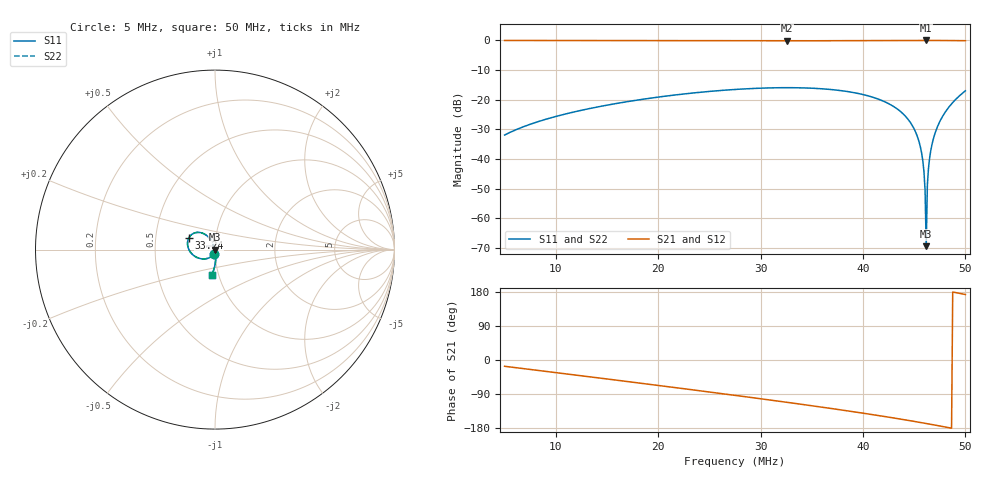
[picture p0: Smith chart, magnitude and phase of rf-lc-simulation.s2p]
# MHz S RI R 50
! Generated by RF LC Structure Simulator
! freq_MHz S11_real S11_imag S21_real S21_imag S12_real S12_imag S22_real S22_imag
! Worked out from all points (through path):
!   401 points, 5 MHz to 50 MHz, reference 50 ohm
!   highest |S21| = 0.00 dB at 46.17 MHz (marker M1); lowest = -0.1 dB at 32.56 MHz (marker M2)
!   group delay of S21, straight-line fit = 10.2 ns
!   lowest |S11| = -69.4 dB at 46.17 MHz (marker M3), VSWR 1.00, Z = 50 - j0.0331 ohm
!   |S11| at or under -10 dB: start of sweep to end of sweep
!   |S22| runs from -69.4 to -15.9 dB; largest |S21 - S12| = 3.7e-16
!   S11 on the Smith chart (normalised r, x): 5 MHz: 0.98, -0.05; 33.24 MHz: 0.74, +0.10; 50 MHz: 0.93, -0.27
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5  -0.00724 -0.0243  0.9581 -0.2852  0.9581 -0.2852  -0.00724 -0.0243
12.5375  -0.0443 -0.0497  0.7445 -0.6643  0.7445 -0.6643  -0.0443 -0.0497
20.075  -0.1027 -0.0428  0.3827 -0.9172  0.3827 -0.9172  -0.1027 -0.0428
27.5  -0.1488 0.00853  -0.0565 -0.9872  -0.0565 -0.9872  -0.1488 0.00853
32.5625  -0.1486 0.0588  -0.3631 -0.9179  -0.3631 -0.9179  -0.1486 0.0588
33.2375  -0.1457 0.0651  -0.4028 -0.9013  -0.4028 -0.9013  -0.1457 0.0651
35.0375  -0.1343 0.0802  -0.5061 -0.8482  -0.5061 -0.8482  -0.1343 0.0802
39.5375  -0.0846 0.0954  -0.7418 -0.6584  -0.7418 -0.6584  -0.0846 0.0954
42.575  -0.0408 0.0741  -0.8726 -0.481  -0.8726 -0.481  -0.0408 0.0741
44.15  -0.0196 0.0488  -0.9267 -0.3722  -0.9267 -0.3722  -0.0196 0.0488
45.1625  -0.00826 0.0266  -0.9547 -0.2961  -0.9547 -0.2961  -0.00826 0.0266
45.5  -0.00509 0.0182  -0.9628 -0.2697  -0.9628 -0.2697  -0.00509 0.0182
45.725  -0.00318 0.0122  -0.9677 -0.2518  -0.9677 -0.2518  -0.00318 0.0122
45.8375  -0.0023 0.00918  -0.97 -0.2427  -0.97 -0.2427  -0.0023 0.00918
45.95  -0.00146 0.00607  -0.9723 -0.2337  -0.9723 -0.2337  -0.00146 0.00607
46.175  7.29e-05 -0.000331  -0.9765 -0.2153  -0.9765 -0.2153  7.29e-05 -0.000331
46.4  0.0014 -0.00697  -0.9804 -0.1967  -0.9804 -0.1967  0.0014 -0.00697
46.5125  0.00198 -0.0104  -0.9822 -0.1874  -0.9822 -0.1874  0.00198 -0.0104
46.625  0.0025 -0.0138  -0.9839 -0.178  -0.9839 -0.178  0.0025 -0.0138
47.1875  0.0042 -0.032  -0.991 -0.1301  -0.991 -0.1301  0.0042 -0.032
48.3125  0.00224 -0.0722  -0.9969 -0.031  -0.9969 -0.031  0.00224 -0.0722
50  -0.0177 -0.1403  -0.9822 0.1237  -0.9822 0.1237  -0.0177 -0.1403
